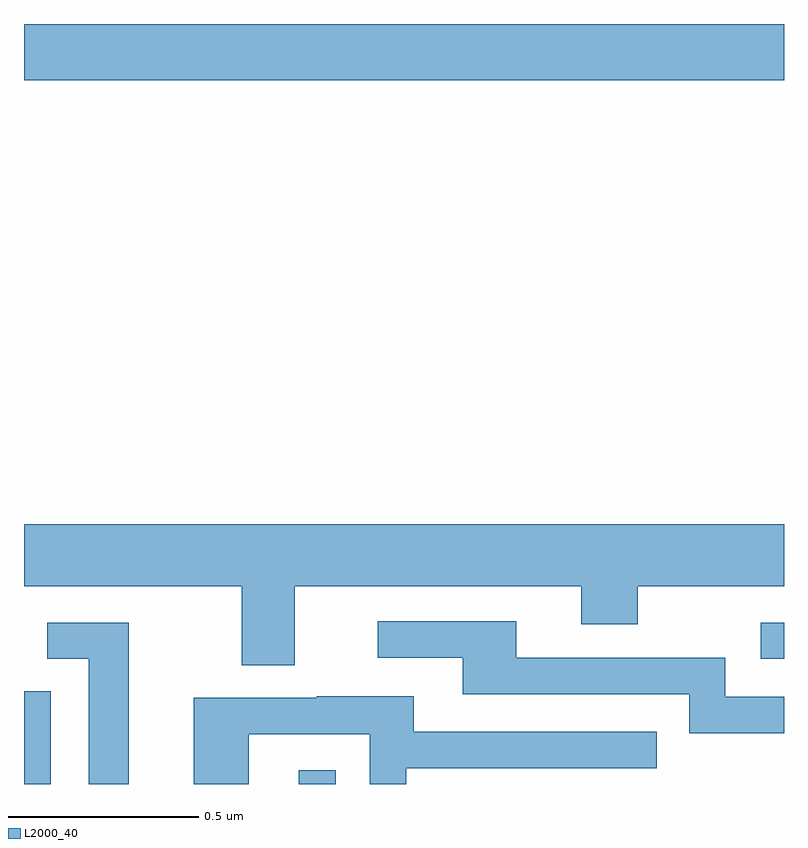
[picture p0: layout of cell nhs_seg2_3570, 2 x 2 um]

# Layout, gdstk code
import gdstk
lib = gdstk.Library(unit=1e-6, precision=1e-09)
def R(c, l, rs):  # rectangles x0, y0, x1, y1
    for r in rs: c.add(gdstk.rectangle(r[:2], r[2:], *l))
def P(c, l, *ps):  # polygons
    for p in ps: c.add(gdstk.Polygon(p, *l))
L2000_40 = (2000, 40)

nhs_seg2_3570 = lib.new_cell('nhs_seg2_3570')
R(nhs_seg2_3570, L2000_40, [(155,629.8,155.07,630.044), (155.723,629.8,155.82,629.836), (156.939,630.129,157,630.225), (155,631.652,157,631.8)])
P(nhs_seg2_3570, L2000_40, [(155.713,630.32),(156.467,630.32),(156.467,630.221),(156.615,630.221),(156.615,630.32),(157,630.32),(157,630.484),(155,630.484),(155,630.32),(155.573,630.32),(155.573,630.112),(155.713,630.112)],
  [(157,630.03),(156.846,630.03),(156.846,630.132),(156.295,630.132),(156.295,630.228),(155.931,630.228),(155.931,630.132),(156.155,630.132),(156.155,630.036),(156.75,630.036),(156.75,629.933),(157,629.933)],
  [(155.275,630.225),(155.061,630.225),(155.061,630.129),(155.171,630.129),(155.171,629.8),(155.275,629.8)],
  [(155.592,629.931),(155.91,629.931),(155.91,629.8),(156.006,629.8),(156.006,629.841),(156.665,629.841),(156.665,629.937),(156.025,629.937),(156.025,630.031),(155.771,630.031),(155.771,630.027),(155.447,630.027),(155.447,629.8),(155.592,629.8)])

lib.write_gds('nhs_seg2_3570.gds')
